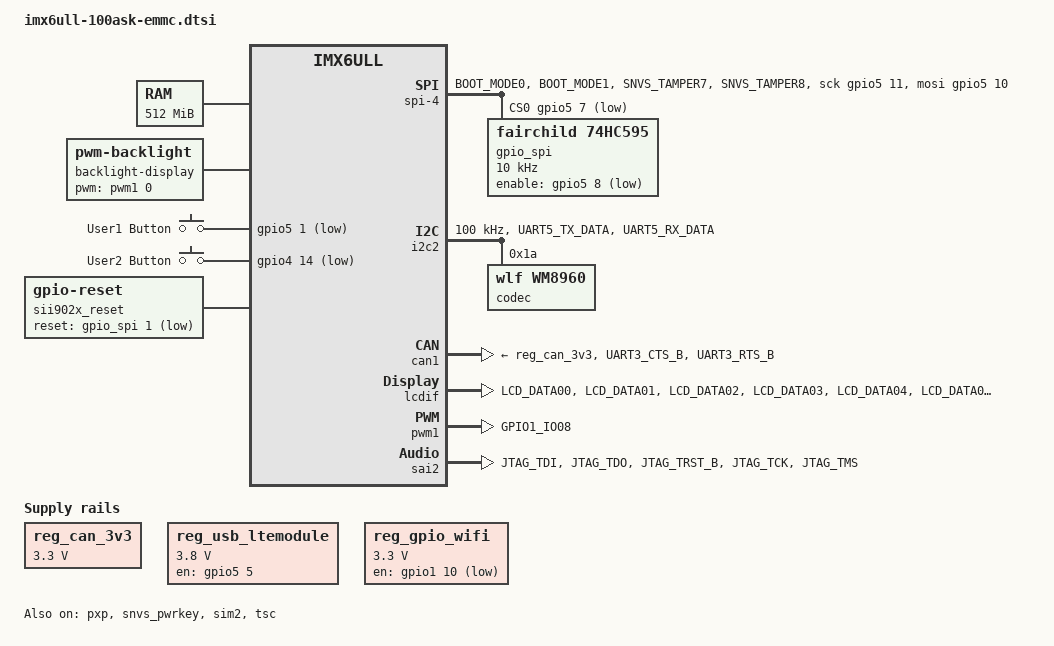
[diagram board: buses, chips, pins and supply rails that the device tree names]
// SPDX-License-Identifier: GPL-2.0
//
// Copyright (C) 2015 Freescale Semiconductor, Inc.

/ {
	chosen {
		stdout-path = &uart1;
	};

	memory@80000000 {
		device_type = "memory";
		reg = <0x80000000 0x20000000>;
	};

	reserved-memory {
		#address-cells = <1>;
		#size-cells = <1>;
		ranges;

		linux,cma {
			compatible = "shared-dma-pool";
			reusable;
			size = <0xa000000>;
			linux,cma-default;
		};
	};

	backlight-display {
		compatible = "pwm-backlight";
		pwms = <&pwm1 0 1000>;
		brightness-levels = <0 1 2 3 4 5 6 8 10>;
		default-brightness-level = <8>;
		status = "okay";
	};

	pxp_v4l2 {
		compatible = "fsl,imx6ul-pxp-v4l2", "fsl,imx6sx-pxp-v4l2", "fsl,imx6sl-pxp-v4l2";
		status = "okay";
	};

	regulators {
		compatible = "simple-bus";
		#address-cells = <1>;
		#size-cells = <0>;

		reg_can_3v3: regulator@0 {
			compatible = "regulator-fixed";
			reg = <0>;
			regulator-name = "can-3v3";
			regulator-min-microvolt = <3300000>;
			regulator-max-microvolt = <3300000>;
		};

		reg_usb_ltemodule: regulator@1 {
			compatible = "regulator-fixed";
			regulator-name = "ltemodule-pwr";
			regulator-min-microvolt = <3800000>;
			regulator-max-microvolt = <3800000>;
			gpios = <&gpio5 5 GPIO_ACTIVE_HIGH>;
			enable-active-high;
			regulator-boot-on;
		};

		reg_gpio_wifi: regulator@2 {
			compatible = "regulator-fixed";
			regulator-name = "wifi-pwr";
			regulator-min-microvolt = <3300000>;
			regulator-max-microvolt = <3300000>;
			gpios = <&gpio1 10 GPIO_ACTIVE_LOW>;
			regulator-boot-on;
		};
	};

	leds {
		compatible = "gpio-leds";
		pinctrl-names = "default";
		pinctrl-0 = <&pinctrl_leds>;

		status = "disabled";

		led0: cpu {
			label = "cpu";
			gpios = <&gpio5 3 GPIO_ACTIVE_LOW>;
			default-state = "on";
			linux,default-trigger = "heartbeat";
		};
	};

	gpio-keys {
		compatible = "gpio-keys";
		pinctrl-names = "default";

		user1 {
			label = "User1 Button";
			gpios = <&gpio5 1 GPIO_ACTIVE_LOW>;
			gpio-key,wakeup;
			linux,code = <KEY_1>;
		};

		user2 {
			label = "User2 Button";
			gpios = <&gpio4 14 GPIO_ACTIVE_LOW>;
			gpio-key,wakeup;
			linux,code = <KEY_2>;
		};
	};

	sound-wm8960 {
		compatible = "fsl,imx-audio-wm8960";
		model = "wm8960-audio";
		audio-cpu = <&sai2>;
		audio-codec = <&codec>;
		audio-asrc = <&asrc>;
		audio-routing =
			"Headphone Jack", "HP_L",
			"Headphone Jack", "HP_R",
			"Ext Spk", "SPK_LP",
			"Ext Spk", "SPK_LN",
			"Ext Spk", "SPK_RP",
			"Ext Spk", "SPK_RN",
			"LINPUT2", "Mic Jack",
			"LINPUT3", "Mic Jack",
			"RINPUT1", "AMIC",
			"RINPUT2", "AMIC",
			"Mic Jack", "MICB",
			"AMIC", "MICB";
		status = "okay";
	};

	spi-4 {
		compatible = "spi-gpio";
		pinctrl-names = "default";
		pinctrl-0 = <&pinctrl_spi4>;
		status = "okay";
		gpio-sck = <&gpio5 11 0>;
		gpio-mosi = <&gpio5 10 0>;
		cs-gpios = <&gpio5 7 GPIO_ACTIVE_LOW>;
		num-chipselects = <1>;
		#address-cells = <1>;
		#size-cells = <0>;

		gpio_spi: gpio@0 {
			compatible = "fairchild,74hc595";
			gpio-controller;
			#gpio-cells = <2>;
			reg = <0>;
			registers-number = <1>;
			registers-default = /bits/ 8 <0x57>;
			spi-max-frequency = <10000>;
			enable-gpios = <&gpio5 8 GPIO_ACTIVE_LOW>;
		};
	};

	sii902x_reset: sii902x-reset {
		compatible = "gpio-reset";
		reset-gpios = <&gpio_spi 1 GPIO_ACTIVE_LOW>;
		reset-delay-us = <100000>;
		#reset-cells = <0>;
		status = "okay";
	};
};

&clks {
	assigned-clocks = <&clks IMX6UL_CLK_PLL4_AUDIO_DIV>;
	assigned-clock-rates = <786432000>;
};

&i2c2 {
	clock-frequency = <100000>;
	pinctrl-names = "default";
	pinctrl-0 = <&pinctrl_i2c2>;
	status = "okay";

	codec: wm8960@1a {
		#sound-dai-cells = <0>;
		compatible = "wlf,wm8960";
		reg = <0x1a>;
		wlf,shared-lrclk;
		wlf,hp-cfg = <3 2 3>;
		wlf,gpio-cfg = <1 3>;
		clocks = <&clks IMX6UL_CLK_SAI2>;
		clock-names = "mclk";
	};
};

&can1 {
	pinctrl-names = "default";
	pinctrl-0 = <&pinctrl_flexcan1>;
	xceiver-supply = <&reg_can_3v3>;
	status = "okay";
};

&gpio_spi {
	eth0-phy-hog {
		gpio-hog;
		gpios = <1 GPIO_ACTIVE_HIGH>;
		output-high;
		line-name = "eth0-phy";
	};

	eth1-phy-hog {
		gpio-hog;
		gpios = <2 GPIO_ACTIVE_HIGH>;
		output-high;
		line-name = "eth1-phy";
	};
};

&lcdif {
	assigned-clocks = <&clks IMX6UL_CLK_LCDIF_PRE_SEL>;
	assigned-clock-parents = <&clks IMX6UL_CLK_PLL5_VIDEO_DIV>;
	pinctrl-names = "default";
	pinctrl-0 = <&pinctrl_lcdif_dat
		     &pinctrl_lcdif_ctrl>;
	display = <&display0>;
	status = "okay";
};

&pwm1 {
	#pwm-cells = <2>;
	pinctrl-names = "default";
	pinctrl-0 = <&pinctrl_pwm1>;
	status = "okay";
};

&pxp {
	status = "okay";
};

&sai2 {
	pinctrl-names = "default";
	pinctrl-0 = <&pinctrl_sai2>;
	assigned-clocks = <&clks IMX6UL_CLK_SAI2_SEL>,
			  <&clks IMX6UL_CLK_SAI2>;
	assigned-clock-parents = <&clks IMX6UL_CLK_PLL4_AUDIO_DIV>;
	assigned-clock-rates = <0>, <12288000>;
	fsl,sai-mclk-direction-output;
	status = "okay";
};

&snvs_poweroff {
	status = "okay";
};

&snvs_pwrkey {
	status = "okay";
};

&sim2 {
	pinctrl-names = "default";
	pinctrl-0 = <&pinctrl_sim2>;
	assigned-clocks = <&clks IMX6UL_CLK_SIM_SEL>;
	assigned-clock-parents = <&clks IMX6UL_CLK_SIM_PODF>;
	assigned-clock-rates = <240000000>;
	/* GPIO_ACTIVE_HIGH/LOW:sim card voltage control
	 * NCN8025:Vcc = ACTIVE_HIGH?5V:3V
	 * TDA8035:Vcc = ACTIVE_HIGH?5V:1.8V
	 */
	pinctrl-assert-gpios = <&gpio4 23 GPIO_ACTIVE_HIGH>;
	port = <1>;
	sven_low_active;
	status = "okay";
};

&tsc {
	pinctrl-names = "default";
	pinctrl-0 = <&pinctrl_tsc>;
	xnur-gpio = <&gpio1 3 GPIO_ACTIVE_LOW>;
	measure-delay-time = <0xffff>;
	pre-charge-time = <0xfff>;
	status = "okay";
};

&iomuxc {
	pinctrl-names = "default";
	pinctrl-0 = <&pinctrl_hog_1>;
	imx6ul-evk {
		pinctrl_hog_1: hoggrp-1 {
			fsl,pins = <
				MX6UL_PAD_UART1_RTS_B__GPIO1_IO19		0x17059 /* SD1 CD */
				MX6UL_PAD_GPIO1_IO00__ANATOP_OTG1_ID	0x17059 /* USB OTG1 ID */
				// MX6UL_PAD_CSI_DATA07__GPIO4_IO28		0x000010B0
				MX6ULL_PAD_SNVS_TAMPER5__GPIO5_IO05		0x000110A0
			>;
		};

		pinctrl_sii902x: hdmigrp {
			fsl,pins = <
				MX6UL_PAD_UART1_CTS_B__GPIO1_IO18 0x59
			>;
		};

		pinctrl_touchscreen_int: lcdif_tsc_int {
			fsl,pins = <
				MX6UL_PAD_GPIO1_IO05__GPIO1_IO05 0x000010B0
			>;
		};

		pinctrl_enet1: enet1grp {
			fsl,pins = <>;
		};

		pinctrl_enet2: enet2grp {
			fsl,pins = <
				MX6UL_PAD_GPIO1_IO06__ENET2_MDIO    0x1b0b0
				MX6UL_PAD_GPIO1_IO07__ENET2_MDC     0x1b0b0
				MX6UL_PAD_ENET2_RX_EN__ENET2_RX_EN  0x1b0b0
				MX6UL_PAD_ENET2_RX_ER__ENET2_RX_ER  0x1b0b0
				MX6UL_PAD_ENET2_RX_DATA0__ENET2_RDATA00 0x1b0b0
				MX6UL_PAD_ENET2_RX_DATA1__ENET2_RDATA01 0x1b0b0
				MX6UL_PAD_ENET2_TX_EN__ENET2_TX_EN  0x1b0b0
				MX6UL_PAD_ENET2_TX_DATA0__ENET2_TDATA00 0x1b0b0
				MX6UL_PAD_ENET2_TX_DATA1__ENET2_TDATA01 0x1b0b0
				MX6UL_PAD_ENET2_TX_CLK__ENET2_REF_CLK2  0x4001b031
				MX6UL_PAD_ENET1_RX_EN__ENET1_RX_EN  0x1b0b0
				MX6UL_PAD_ENET1_RX_ER__ENET1_RX_ER  0x1b0b0
				MX6UL_PAD_ENET1_RX_DATA0__ENET1_RDATA00 0x1b0b0
				MX6UL_PAD_ENET1_RX_DATA1__ENET1_RDATA01 0x1b0b0
				MX6UL_PAD_ENET1_TX_EN__ENET1_TX_EN  0x1b0b0
				MX6UL_PAD_ENET1_TX_DATA0__ENET1_TDATA00 0x1b0b0
				MX6UL_PAD_ENET1_TX_DATA1__ENET1_TDATA01 0x1b0b0
				MX6UL_PAD_ENET1_TX_CLK__ENET1_REF_CLK1  0x4001b031
			>;
		};

		pinctrl_flexcan1: flexcan1grp{
			fsl,pins = <
				MX6UL_PAD_UART3_CTS_B__FLEXCAN1_TX	0x000010B0
				MX6UL_PAD_UART3_RTS_B__FLEXCAN1_RX	0x000010B0
			>;
		};

		pinctrl_i2c1: i2c1grp {
			fsl,pins = <
				MX6UL_PAD_UART4_TX_DATA__I2C1_SCL 0x4001b8b0
				MX6UL_PAD_UART4_RX_DATA__I2C1_SDA 0x4001b8b0
			>;
		};

		pinctrl_i2c2: i2c2grp {
			fsl,pins = <
				MX6UL_PAD_UART5_TX_DATA__I2C2_SCL 0x4001b8b0
				MX6UL_PAD_UART5_RX_DATA__I2C2_SDA 0x4001b8b0
			>;
		};

		pinctrl_ecspi3: ecspi3 {
			fsl,pins = <
				MX6UL_PAD_UART2_CTS_B__ECSPI3_MOSI       0x000010B0
				MX6UL_PAD_UART2_RTS_B__ECSPI3_MISO       0x000010B0
				MX6UL_PAD_UART2_RX_DATA__ECSPI3_SCLK     0x000010B0
				MX6UL_PAD_UART2_TX_DATA__GPIO1_IO20      0x000010B0
				MX6UL_PAD_GPIO1_IO01__GPIO1_IO01         0x000010B0
			>;
		};

		pinctrl_ecspi1: ecspi1 {
			fsl,pins = <
				MX6UL_PAD_CSI_DATA04__ECSPI1_SCLK         0x000010B0
				MX6UL_PAD_CSI_DATA06__ECSPI1_MOSI         0x000010B0
				MX6UL_PAD_CSI_DATA07__ECSPI1_MISO         0x000010B0
				MX6UL_PAD_CSI_DATA05__GPIO4_IO26          0x000010B0
				MX6UL_PAD_CSI_DATA03__GPIO4_IO24          0x000010B0
			>;
		};

		pinctrl_uart3: uart3grp {
			fsl,pins = <
				MX6UL_PAD_UART3_TX_DATA__UART3_DCE_TX   0x1b0b1
				MX6UL_PAD_UART3_RX_DATA__UART3_DCE_RX   0x1b0b1
			>;
		};

		pinctrl_uart1: uart1grp {
			fsl,pins = <
				MX6UL_PAD_UART1_TX_DATA__UART1_DCE_TX 0x1b0b1
				MX6UL_PAD_UART1_RX_DATA__UART1_DCE_RX 0x1b0b1
			>;
		};

		pinctrl_uart6: uart6grp {
			fsl,pins = <
				MX6UL_PAD_CSI_MCLK__UART6_DCE_TX      0x1b0b1
				MX6UL_PAD_CSI_PIXCLK__UART6_DCE_RX    0x1b0b1
			>;
		};

		pinctrl_sai2: sai2grp {
			fsl,pins = <
				MX6UL_PAD_JTAG_TDI__SAI2_TX_BCLK    0x17088
				MX6UL_PAD_JTAG_TDO__SAI2_TX_SYNC    0x17088
				MX6UL_PAD_JTAG_TRST_B__SAI2_TX_DATA 0x11088
				MX6UL_PAD_JTAG_TCK__SAI2_RX_DATA    0x11088
				MX6UL_PAD_JTAG_TMS__SAI2_MCLK       0x17088
			>;
		};

		pinctrl_tsc: tscgrp {
			fsl,pins = <
				MX6UL_PAD_GPIO1_IO01__GPIO1_IO01    0xb0
				MX6UL_PAD_GPIO1_IO02__GPIO1_IO02    0xb0
				MX6UL_PAD_GPIO1_IO03__GPIO1_IO03    0xb0
				MX6UL_PAD_GPIO1_IO04__GPIO1_IO04    0xb0
			>;
		};

		pinctrl_usdhc1: usdhc1grp {
			fsl,pins = <
				MX6UL_PAD_SD1_CMD__USDHC1_CMD     0x17059
				MX6UL_PAD_SD1_CLK__USDHC1_CLK     0x10071
				MX6UL_PAD_SD1_DATA0__USDHC1_DATA0 0x17059
				MX6UL_PAD_SD1_DATA1__USDHC1_DATA1 0x17059
				MX6UL_PAD_SD1_DATA2__USDHC1_DATA2 0x17059
				MX6UL_PAD_SD1_DATA3__USDHC1_DATA3 0x17059
			>;
		};

		pinctrl_usdhc1_100mhz: usdhc1grp100mhz {
			fsl,pins = <
				MX6UL_PAD_SD1_CMD__USDHC1_CMD     0x170b9
				MX6UL_PAD_SD1_CLK__USDHC1_CLK     0x100b9
				MX6UL_PAD_SD1_DATA0__USDHC1_DATA0 0x170b9
				MX6UL_PAD_SD1_DATA1__USDHC1_DATA1 0x170b9
				MX6UL_PAD_SD1_DATA2__USDHC1_DATA2 0x170b9
				MX6UL_PAD_SD1_DATA3__USDHC1_DATA3 0x170b9
			>;
		};

		pinctrl_usdhc1_200mhz: usdhc1grp200mhz {
			fsl,pins = <
				MX6UL_PAD_SD1_CMD__USDHC1_CMD     0x170f9
				MX6UL_PAD_SD1_CLK__USDHC1_CLK     0x100f9
				MX6UL_PAD_SD1_DATA0__USDHC1_DATA0 0x170f9
				MX6UL_PAD_SD1_DATA1__USDHC1_DATA1 0x170f9
				MX6UL_PAD_SD1_DATA2__USDHC1_DATA2 0x170f9
				MX6UL_PAD_SD1_DATA3__USDHC1_DATA3 0x170f9
			>;
		};

		pinctrl_usdhc2: usdhc2grp {
			fsl,pins = <
				MX6UL_PAD_NAND_RE_B__USDHC2_CLK     0x10069
				MX6UL_PAD_NAND_WE_B__USDHC2_CMD     0x17059
				MX6UL_PAD_NAND_DATA00__USDHC2_DATA0 0x17059
				MX6UL_PAD_NAND_DATA01__USDHC2_DATA1 0x17059
				MX6UL_PAD_NAND_DATA02__USDHC2_DATA2 0x17059
				MX6UL_PAD_NAND_DATA03__USDHC2_DATA3 0x17059
			>;
		};

		pinctrl_usdhc2_8bit: usdhc2grp_8bit {
			fsl,pins = <
				MX6UL_PAD_NAND_RE_B__USDHC2_CLK     0x10069
				MX6UL_PAD_NAND_WE_B__USDHC2_CMD     0x17059
				MX6UL_PAD_NAND_DATA00__USDHC2_DATA0 0x17059
				MX6UL_PAD_NAND_DATA01__USDHC2_DATA1 0x17059
				MX6UL_PAD_NAND_DATA02__USDHC2_DATA2 0x17059
				MX6UL_PAD_NAND_DATA03__USDHC2_DATA3 0x17059
				MX6UL_PAD_NAND_DATA04__USDHC2_DATA4 0x17059
				MX6UL_PAD_NAND_DATA05__USDHC2_DATA5 0x17059
				MX6UL_PAD_NAND_DATA06__USDHC2_DATA6 0x17059
				MX6UL_PAD_NAND_DATA07__USDHC2_DATA7 0x17059
			>;
		};

		pinctrl_usdhc2_8bit_100mhz: usdhc2grp_8bit_100mhz {
			fsl,pins = <
				MX6UL_PAD_NAND_RE_B__USDHC2_CLK     0x100b9
				MX6UL_PAD_NAND_WE_B__USDHC2_CMD     0x170b9
				MX6UL_PAD_NAND_DATA00__USDHC2_DATA0 0x170b9
				MX6UL_PAD_NAND_DATA01__USDHC2_DATA1 0x170b9
				MX6UL_PAD_NAND_DATA02__USDHC2_DATA2 0x170b9
				MX6UL_PAD_NAND_DATA03__USDHC2_DATA3 0x170b9
				MX6UL_PAD_NAND_DATA04__USDHC2_DATA4 0x170b9
				MX6UL_PAD_NAND_DATA05__USDHC2_DATA5 0x170b9
				MX6UL_PAD_NAND_DATA06__USDHC2_DATA6 0x170b9
				MX6UL_PAD_NAND_DATA07__USDHC2_DATA7 0x170b9
			>;
		};

		pinctrl_usdhc2_8bit_200mhz: usdhc2grp_8bit_200mhz {
			fsl,pins = <
				MX6UL_PAD_NAND_RE_B__USDHC2_CLK     0x100f9
				MX6UL_PAD_NAND_WE_B__USDHC2_CMD     0x170f9
				MX6UL_PAD_NAND_DATA00__USDHC2_DATA0 0x170f9
				MX6UL_PAD_NAND_DATA01__USDHC2_DATA1 0x170f9
				MX6UL_PAD_NAND_DATA02__USDHC2_DATA2 0x170f9
				MX6UL_PAD_NAND_DATA03__USDHC2_DATA3 0x170f9
				MX6UL_PAD_NAND_DATA04__USDHC2_DATA4 0x170f9
				MX6UL_PAD_NAND_DATA05__USDHC2_DATA5 0x170f9
				MX6UL_PAD_NAND_DATA06__USDHC2_DATA6 0x170f9
				MX6UL_PAD_NAND_DATA07__USDHC2_DATA7 0x170f9
			>;
		};

		pinctrl_lcdif_dat: lcdifdatgrp {
			fsl,pins = <
				MX6UL_PAD_LCD_DATA00__LCDIF_DATA00  0x79
				MX6UL_PAD_LCD_DATA01__LCDIF_DATA01  0x79
				MX6UL_PAD_LCD_DATA02__LCDIF_DATA02  0x79
				MX6UL_PAD_LCD_DATA03__LCDIF_DATA03  0x79
				MX6UL_PAD_LCD_DATA04__LCDIF_DATA04  0x79
				MX6UL_PAD_LCD_DATA05__LCDIF_DATA05  0x79
				MX6UL_PAD_LCD_DATA06__LCDIF_DATA06  0x79
				MX6UL_PAD_LCD_DATA07__LCDIF_DATA07  0x79
				MX6UL_PAD_LCD_DATA08__LCDIF_DATA08  0x79
				MX6UL_PAD_LCD_DATA09__LCDIF_DATA09  0x79
				MX6UL_PAD_LCD_DATA10__LCDIF_DATA10  0x79
				MX6UL_PAD_LCD_DATA11__LCDIF_DATA11  0x79
				MX6UL_PAD_LCD_DATA12__LCDIF_DATA12  0x79
				MX6UL_PAD_LCD_DATA13__LCDIF_DATA13  0x79
				MX6UL_PAD_LCD_DATA14__LCDIF_DATA14  0x79
				MX6UL_PAD_LCD_DATA15__LCDIF_DATA15  0x79
				MX6UL_PAD_LCD_DATA16__LCDIF_DATA16  0x79
				MX6UL_PAD_LCD_DATA17__LCDIF_DATA17  0x79
				MX6UL_PAD_LCD_DATA18__LCDIF_DATA18  0x79
				MX6UL_PAD_LCD_DATA19__LCDIF_DATA19  0x79
				MX6UL_PAD_LCD_DATA20__LCDIF_DATA20  0x79
				MX6UL_PAD_LCD_DATA21__LCDIF_DATA21  0x79
				MX6UL_PAD_LCD_DATA22__LCDIF_DATA22  0x79
				MX6UL_PAD_LCD_DATA23__LCDIF_DATA23  0x79
			>;
		};

		pinctrl_lcdif_dat_16bits: lcdifdatgrp_16bits {
			fsl,pins = <
				MX6UL_PAD_LCD_DATA00__LCDIF_DATA00  0x79
				MX6UL_PAD_LCD_DATA01__LCDIF_DATA01  0x79
				MX6UL_PAD_LCD_DATA02__LCDIF_DATA02  0x79
				MX6UL_PAD_LCD_DATA03__LCDIF_DATA03  0x79
				MX6UL_PAD_LCD_DATA04__LCDIF_DATA04  0x79
				MX6UL_PAD_LCD_DATA05__LCDIF_DATA05  0x79
				MX6UL_PAD_LCD_DATA06__LCDIF_DATA06  0x79
				MX6UL_PAD_LCD_DATA07__LCDIF_DATA07  0x79
				MX6UL_PAD_LCD_DATA08__LCDIF_DATA08  0x79
				MX6UL_PAD_LCD_DATA09__LCDIF_DATA09  0x79
				MX6UL_PAD_LCD_DATA10__LCDIF_DATA10  0x79
				MX6UL_PAD_LCD_DATA11__LCDIF_DATA11  0x79
				MX6UL_PAD_LCD_DATA12__LCDIF_DATA12  0x79
				MX6UL_PAD_LCD_DATA13__LCDIF_DATA13  0x79
				MX6UL_PAD_LCD_DATA14__LCDIF_DATA14  0x79
				MX6UL_PAD_LCD_DATA15__LCDIF_DATA15  0x79
			>;
		};

		pinctrl_lcdif_ctrl: lcdifctrlgrp {
			fsl,pins = <
				MX6UL_PAD_LCD_CLK__LCDIF_CLK        0x79
				MX6UL_PAD_LCD_ENABLE__LCDIF_ENABLE  0x79
				MX6UL_PAD_LCD_HSYNC__LCDIF_HSYNC    0x79
				MX6UL_PAD_LCD_VSYNC__LCDIF_VSYNC    0x79
			>;
		};

		pinctrl_pwm1: pwm1grp {
			fsl,pins = <
				MX6UL_PAD_GPIO1_IO08__PWM1_OUT   0x110b0
			>;
		};

		pinctrl_lcdif_reset: lcdifresetgrp {
			fsl,pins = <
				MX6UL_PAD_LCD_RESET__GPIO3_IO04     0x1b0b0
			>;
		};

		pinctrl_adc1: adc1grp {
			fsl,pins = <
				MX6UL_PAD_GPIO1_IO03__GPIO1_IO03          0x000010B1
				MX6UL_PAD_GPIO1_IO04__GPIO1_IO04          0x000010B1
			>;
		};
	};
};

&iomuxc_snvs {
	pinctrl-names = "default_snvs";
	pinctrl-0 = <&pinctrl_hog_2>;

	imx6ul-evk {
		pinctrl_hog_2: hoggrp-2 {
			fsl,pins = <
				MX6ULL_PAD_SNVS_TAMPER9__GPIO5_IO09     0x1b0b0 /* enet1 reset */
				MX6ULL_PAD_SNVS_TAMPER6__GPIO5_IO06     0x1b0b0 /* enet2 reset */
				MX6ULL_PAD_SNVS_TAMPER1__GPIO5_IO01     0x000110A0 /*key 1*/
			>;
		};

		pinctrl_tsc_reset: tscresetgrp  {        /*!< Function assigned for the core: Cortex-A7[ca7] */
			fsl,pins = <
				MX6ULL_PAD_SNVS_TAMPER2__GPIO5_IO02        0x000110A0
			>;
		};

		pinctrl_spi4: spi4grp {
			fsl,pins = <
				MX6ULL_PAD_BOOT_MODE0__GPIO5_IO10        0x70a1
				MX6ULL_PAD_BOOT_MODE1__GPIO5_IO11        0x70a1
				MX6ULL_PAD_SNVS_TAMPER7__GPIO5_IO07      0x70a1
				MX6ULL_PAD_SNVS_TAMPER8__GPIO5_IO08      0x80000000
			>;
		};

		pinctrl_leds: ledgrp {
			fsl,pins = <
				MX6ULL_PAD_SNVS_TAMPER3__GPIO5_IO03        0x000110A0
			>;
		};

		pinctrl_485_ctl: uart3_rs485 {
			fsl,pins = <
				MX6ULL_PAD_SNVS_TAMPER0__GPIO5_IO00     0x1b0b0
			>;
		};
	};
};
